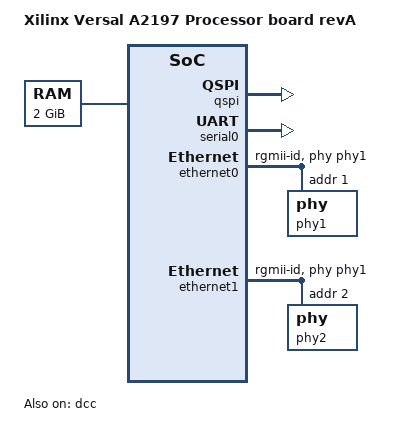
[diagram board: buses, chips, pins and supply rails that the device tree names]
// SPDX-License-Identifier: GPL-2.0
/*
 * dts file for Xilinx Versal
 *
 * (C) Copyright 2019, Xilinx, Inc.
 *
 * Michal Simek <michal.simek@xilinx.com>
 */

/ {
        compatible = "xlnx,versal-vc-p-a2197-00-revA",
                     "xlnx,versal-vc-p-a2197-00",
                     "xlnx,versal-vc-p-a2197", "xlnx,versal";
        model = "Xilinx Versal A2197 Processor board revA";

        chosen {
                bootargs = "rdinit=/bin/sh console=ttyAMA0 earlycon=pl011,mmio32,0xFF000000,115200n8 clk_ignore_unused maxcpus=1";
                stdout-path = "serial0:115200";
        };

        memory@0 {
                device_type = "memory";
                reg = <0 0 0 0x80000000>;
        };
};

&dcc {
        status = "okay";
};

&qspi {
        status = "okay"; /* u93 and u92 */
        /* single or dual */
};

&serial0 {
        status = "okay";
};

&ethernet0 {
	status = "okay";
	phy-handle = <&phy1>; /* u128 */
	phy-mode = "rgmii-id";
	phy1: phy@1 {
		reg = <1>;
		ti,rx-internal-delay = <8>;
		ti,tx-internal-delay = <0xa>;
		ti,fifo-depth = <1>;
		ti,dp83867-rxctrl-strap-quirk; /* FIXME */
	};
};

&ethernet1 {
	status = "okay";
	phy-handle = <&phy1>; /* u134 */
	phy-mode = "rgmii-id";
	phy2: phy@2 {
		reg = <2>;
		ti,rx-internal-delay = <8>;
		ti,tx-internal-delay = <0xa>;
		ti,fifo-depth = <1>;
		ti,dp83867-rxctrl-strap-quirk; /* FIXME */
	};
};
